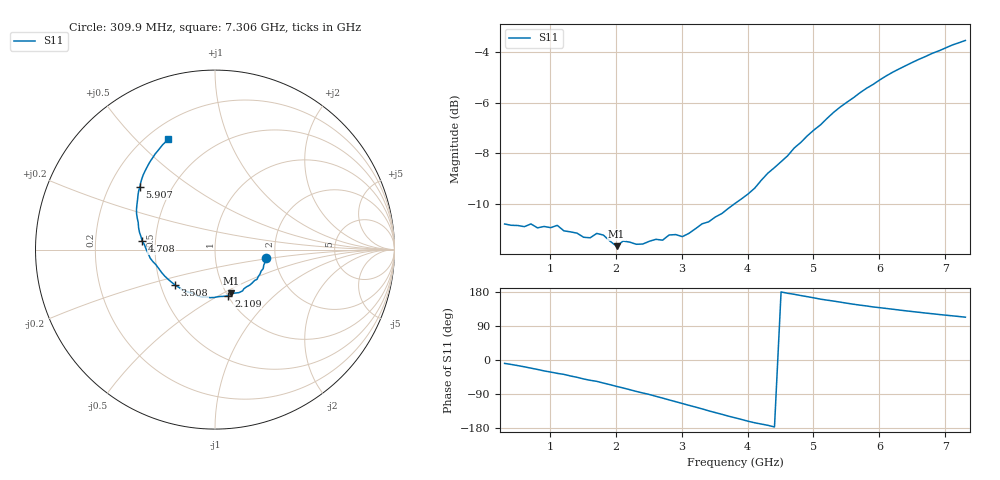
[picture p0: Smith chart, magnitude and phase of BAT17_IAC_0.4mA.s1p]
! Infineon Technologies  Discrete & RF Semiconductors
! BAT17
! IAC = 0.4 mA
! One-Port S-Parameters
# Hz  S  MA  R  50
!f  S11
!Hz  Mag  Ang
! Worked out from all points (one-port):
!   71 points, 309.9 MHz to 7.306 GHz, reference 50 ohm
!   lowest |S11| = -11.7 dB at 2.009 GHz (marker M1), VSWR 1.71, Z = 52.6 - j27.6 ohm
!   |S11| at or under -10 dB: start of sweep to 3.797 GHz
!   S11 on the Smith chart (normalised r, x): 309.9 MHz: 1.79, -0.18; 2.109 GHz: 1.01, -0.56; 3.508 GHz: 0.59, -0.26; 4.708 GHz: 0.42, +0.05; 5.907 GHz: 0.33, +0.33; 7.306 GHz: 0.28, +0.62
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3.0985e8  0.2887 -9.0
6.097e8  0.2852 -18.0
7.0965e8  0.2887 -21.5
8.096e8  0.2836 -24.9
1.10945e9  0.2869 -35.2
1.2094e9  0.2798 -37.9
1.50925e9  0.2717 -50.0
1.70915e9  0.2765 -56.3
1.8091e9  0.2744 -60.8
2.009e9  0.2609 -69.6
2.10895e9  0.267 -73.8
2.4088e9  0.2635 -87.1
2.6087e9  0.2692 -95.9
2.70865e9  0.2681 -100.5
2.8086e9  0.2746 -105.4
3.0085e9  0.2725 -114.8
3.30835e9  0.2889 -128.9
3.50825e9  0.2979 -138.7
3.8081e9  0.317 -152.5
4.10795e9  0.3399 -165.7
4.30785e9  0.364 -172.4
4.70765e9  0.4082 173.4
5.30735e9  0.4804 155.4
5.6072e9  0.5134 147.2
5.90705e9  0.5456 140.0
6.2069e9  0.577 133.9
6.50675e9  0.6035 127.7
7.30635e9  0.6664 113.0
